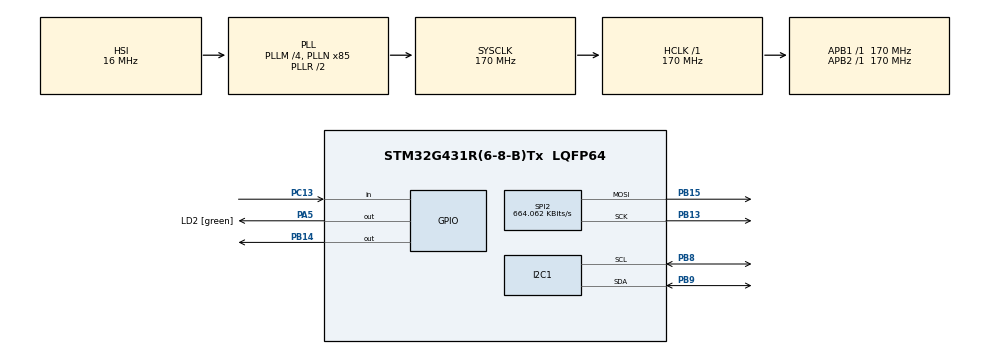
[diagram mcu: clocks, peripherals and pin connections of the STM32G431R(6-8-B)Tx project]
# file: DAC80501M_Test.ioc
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I2C1.Timing=0x40B285C2
Mcu.Family=STM32G4
Mcu.Name=STM32G431R(6-8-B)Tx
Mcu.Package=LQFP64
NVIC.PriorityGroup=NVIC_PRIORITYGROUP_4
PA13.GPIO_Label=T_SWDIO
PA13.Signal=SYS_JTMS-SWDIO
PA14.GPIO_Label=T_SWCLK
PA14.Signal=SYS_JTCK-SWCLK
PA3.GPIO_Label=LPUART1_RX [STLINKV3E_VCP_TX]
PA3.Signal=LPUART1_RX
PA5.GPIO_Label=LD2 [green]
PA5.Signal=GPIO_Output
PB13.Mode=TX_Only_Simplex_Unidirect_Master
PB13.Signal=SPI2_SCK
PB14.GPIO_PuPd=GPIO_PULLUP
PB14.GPIO_Speed=GPIO_SPEED_FREQ_VERY_HIGH
PB14.PinState=GPIO_PIN_SET
PB14.Signal=GPIO_Output
PB15.Mode=TX_Only_Simplex_Unidirect_Master
PB15.Signal=SPI2_MOSI
PB3.GPIO_Label=T_SWO
PB3.Signal=SYS_JTDO-SWO
PB8-BOOT0.Mode=I2C
PB8-BOOT0.Signal=I2C1_SCL
PB9.Mode=I2C
PB9.Signal=I2C1_SDA
PC13.GPIO_PuPd=GPIO_PULLDOWN
PC13.Signal=GPIO_Input
PC14-OSC32_IN.GPIO_Label=RCC_OSC32_OUT
PC14-OSC32_IN.Signal=RCC_OSC32_IN
PC15-OSC32_OUT.GPIO_Label=RCC_OSC32_OUT
PC15-OSC32_OUT.Signal=RCC_OSC32_OUT
PF0-OSC_IN.GPIO_Label=RCC_OSC_IN
PF0-OSC_IN.Signal=RCC_OSC_IN
PF1-OSC_OUT.GPIO_Label=RCC_OSC_OUT
PF1-OSC_OUT.Signal=RCC_OSC_OUT
ProjectManager.HeapSize=0x200
ProjectManager.StackSize=0x400
ProjectManager.TargetToolchain=STM32CubeIDE
RCC.ADC12Freq_Value=170000000
RCC.AHBFreq_Value=170000000
RCC.APB1Freq_Value=170000000
RCC.APB1TimFreq_Value=170000000
RCC.APB2Freq_Value=170000000
RCC.APB2TimFreq_Value=170000000
RCC.CortexFreq_Value=170000000
RCC.EXTERNAL_CLOCK_VALUE=12288000
RCC.HCLKFreq_Value=170000000
RCC.HSE_VALUE=24000000
RCC.HSI48_VALUE=48000000
RCC.HSI_VALUE=16000000
RCC.LSE_VALUE=32768
RCC.PLLM=RCC_PLLM_DIV4
RCC.PLLN=85
RCC.RTCClockSelection=RCC_RTCCLKSOURCE_LSE
RCC.SYSCLKFreq_VALUE=170000000
RCC.SYSCLKSource=RCC_SYSCLKSOURCE_PLLCLK
RCC.USBFreq_Value=170000000
RCC.VCOOutputFreq_Value=340000000
SPI2.BaudRatePrescaler=SPI_BAUDRATEPRESCALER_256
SPI2.CLKPolarity=SPI_POLARITY_HIGH
SPI2.CalculateBaudRate=664.062 KBits/s
SPI2.DataSize=SPI_DATASIZE_8BIT
SPI2.Direction=SPI_DIRECTION_2LINES
SPI2.Mode=SPI_MODE_MASTER
SPI2.VirtualType=VM_MASTER
TIM6.Prescaler=169
VP_SYS_VS_DBSignals.Mode=DisableDeadBatterySignals
VP_TIM6_VS_ClockSourceINT.Mode=Enable_Timer
board=NUCLEO-G431RB

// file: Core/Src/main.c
/* USER CODE BEGIN Header */
/**
  ******************************************************************************
  * @file           : main.c
  * @brief          : Main program body
  ******************************************************************************
  * @attention
  *
  * Copyright (c) 2026 STMicroelectronics.
  * All rights reserved.
  *
  * This software is licensed under terms that can be found in the LICENSE file
  * in the root directory of this software component.
  * If no LICENSE file comes with this software, it is provided AS-IS.
  *
  ******************************************************************************
  */
/* USER CODE END Header */
#include "main.h"

/* USER CODE BEGIN Includes */
/* I2C
 */
#include "DAC80501M_I2C.h"
//#include "DAC80501M_SPI.h"
/* USER CODE END Includes */

I2C_HandleTypeDef hi2c1;

SPI_HandleTypeDef hspi2;

TIM_HandleTypeDef htim6;

/* USER CODE BEGIN PV */
DAC80501M_Handle_t DACs;
uint8_t count = 0;
/* USER CODE END PV */

void SystemClock_Config(void);
static void MX_GPIO_Init(void);
static void MX_I2C1_Init(void);
static void MX_SPI2_Init(void);
static void MX_TIM6_Init(void);

int main(void)
{

  /* MCU Configuration--------------------------------------------------------*/

  /* Reset of all peripherals, Initializes the Flash interface and the Systick. */
  HAL_Init();

  /* Configure the system clock */
  SystemClock_Config();

  /* Initialize all configured peripherals */
  MX_GPIO_Init();
  MX_I2C1_Init();
  MX_SPI2_Init();
  MX_TIM6_Init();
  /* USER CODE BEGIN 2 */
  /* I2C
   */
//  DACs.hi2c = &hi2c1;
//  DACs.Init.dev_i2c_addr = (0x49U << 1U);
  HAL_TIM_Base_Start(&htim6);

  DACs.hspi = &hspi2;
  DACs.CS_Port = GPIOB;
  DACs.CS_Pin = GPIO_PIN_14;
  DACs.Init.dac_sync = DAC80501M_SYNC_DI;
  DACs.Init.int_ref = DAC80501M_INT_REF_EN;
//  DACs.Init.buff_gain = DAC80501M_BUFF_GAIN_2;
//  DACs.Init.ref_div = DAC80501M_REF_DIV_1;

//  DAC80501M_Init(&DACs);
//  DAC80501M_Set_Ref_Div(&DACs, DAC80501M_REF_DIV_2);
//  DAC80501M_Set_Buff_Gain(&DACs, DAC80501M_BUFF_GAIN_2);
  uint16_t data = 0x7FFF;
  uint16_t pData;
//  DAC80501M_ReadReg(&DACs, DAC80501M_REG_DAC_DATA,&pData);
  /* USER CODE END 2 */

  /* Infinite loop */
  while (1)
  {

    /* USER CODE BEGIN 3 */
	 if(HAL_GPIO_ReadPin(GPIOC, GPIO_PIN_13))
	 {
		 HAL_Delay(100);
		 if(count < 2)
		 {
//			 DAC80501M_I2C_Write_DAC(&DACs, data);
			 DAC80501M_SPI_Write_DAC(&DACs, data);
		 }
		 else if(count>2)
		 {
			 data = 0xFFFF;
//			 DAC80501M_I2C_Write_DAC(&DACs, data);
			 DAC80501M_SPI_Write_DAC(&DACs, data);
		 }
		 count++;
		 /* I2C
		  */
//		 HAL_Delay(100);
	 }
  }
  /* USER CODE END 3 */
}

void SystemClock_Config(void)
{
  RCC_OscInitTypeDef RCC_OscInitStruct = {0};
  RCC_ClkInitTypeDef RCC_ClkInitStruct = {0};

  /** Configure the main internal regulator output voltage
  */
  HAL_PWREx_ControlVoltageScaling(PWR_REGULATOR_VOLTAGE_SCALE1_BOOST);

  /** Initializes the RCC Oscillators according to the specified parameters
  * in the RCC_OscInitTypeDef structure.
  */
  RCC_OscInitStruct.OscillatorType = RCC_OSCILLATORTYPE_HSI;
  RCC_OscInitStruct.HSIState = RCC_HSI_ON;
  RCC_OscInitStruct.HSICalibrationValue = RCC_HSICALIBRATION_DEFAULT;
  RCC_OscInitStruct.PLL.PLLState = RCC_PLL_ON;
  RCC_OscInitStruct.PLL.PLLSource = RCC_PLLSOURCE_HSI;
  RCC_OscInitStruct.PLL.PLLM = RCC_PLLM_DIV4;
  RCC_OscInitStruct.PLL.PLLN = 85;
  RCC_OscInitStruct.PLL.PLLP = RCC_PLLP_DIV2;
  RCC_OscInitStruct.PLL.PLLQ = RCC_PLLQ_DIV2;
  RCC_OscInitStruct.PLL.PLLR = RCC_PLLR_DIV2;
  if (HAL_RCC_OscConfig(&RCC_OscInitStruct) != HAL_OK)
  {
    Error_Handler();
  }

  /** Initializes the CPU, AHB and APB buses clocks
  */
  RCC_ClkInitStruct.ClockType = RCC_CLOCKTYPE_HCLK|RCC_CLOCKTYPE_SYSCLK
                              |RCC_CLOCKTYPE_PCLK1|RCC_CLOCKTYPE_PCLK2;
  RCC_ClkInitStruct.SYSCLKSource = RCC_SYSCLKSOURCE_PLLCLK;
  RCC_ClkInitStruct.AHBCLKDivider = RCC_SYSCLK_DIV1;
  RCC_ClkInitStruct.APB1CLKDivider = RCC_HCLK_DIV1;
  RCC_ClkInitStruct.APB2CLKDivider = RCC_HCLK_DIV1;

  if (HAL_RCC_ClockConfig(&RCC_ClkInitStruct, FLASH_LATENCY_4) != HAL_OK)
  {
    Error_Handler();
  }
}

static void MX_I2C1_Init(void)
{

  hi2c1.Instance = I2C1;
  hi2c1.Init.Timing = 0x40B285C2;
  hi2c1.Init.OwnAddress1 = 0;
  hi2c1.Init.AddressingMode = I2C_ADDRESSINGMODE_7BIT;
  hi2c1.Init.DualAddressMode = I2C_DUALADDRESS_DISABLE;
  hi2c1.Init.OwnAddress2 = 0;
  hi2c1.Init.OwnAddress2Masks = I2C_OA2_NOMASK;
  hi2c1.Init.GeneralCallMode = I2C_GENERALCALL_DISABLE;
  hi2c1.Init.NoStretchMode = I2C_NOSTRETCH_DISABLE;
  if (HAL_I2C_Init(&hi2c1) != HAL_OK)
  {
    Error_Handler();
  }

  /** Configure Analogue filter
  */
  if (HAL_I2CEx_ConfigAnalogFilter(&hi2c1, I2C_ANALOGFILTER_ENABLE) != HAL_OK)
  {
    Error_Handler();
  }

  /** Configure Digital filter
  */
  if (HAL_I2CEx_ConfigDigitalFilter(&hi2c1, 0) != HAL_OK)
  {
    Error_Handler();
  }

}

static void MX_SPI2_Init(void)
{

  /* SPI2 parameter configuration*/
  hspi2.Instance = SPI2;
  hspi2.Init.Mode = SPI_MODE_MASTER;
  hspi2.Init.Direction = SPI_DIRECTION_2LINES;
  hspi2.Init.DataSize = SPI_DATASIZE_8BIT;
  hspi2.Init.CLKPolarity = SPI_POLARITY_HIGH;
  hspi2.Init.CLKPhase = SPI_PHASE_1EDGE;
  hspi2.Init.NSS = SPI_NSS_SOFT;
  hspi2.Init.BaudRatePrescaler = SPI_BAUDRATEPRESCALER_256;
  hspi2.Init.FirstBit = SPI_FIRSTBIT_MSB;
  hspi2.Init.TIMode = SPI_TIMODE_DISABLE;
  hspi2.Init.CRCCalculation = SPI_CRCCALCULATION_DISABLE;
  hspi2.Init.CRCPolynomial = 7;
  hspi2.Init.CRCLength = SPI_CRC_LENGTH_DATASIZE;
  hspi2.Init.NSSPMode = SPI_NSS_PULSE_ENABLE;
  if (HAL_SPI_Init(&hspi2) != HAL_OK)
  {
    Error_Handler();
  }

}

static void MX_TIM6_Init(void)
{

  TIM_MasterConfigTypeDef sMasterConfig = {0};

  htim6.Instance = TIM6;
  htim6.Init.Prescaler = 169;
  htim6.Init.CounterMode = TIM_COUNTERMODE_UP;
  htim6.Init.Period = 65535;
  htim6.Init.AutoReloadPreload = TIM_AUTORELOAD_PRELOAD_DISABLE;
  if (HAL_TIM_Base_Init(&htim6) != HAL_OK)
  {
    Error_Handler();
  }
  sMasterConfig.MasterOutputTrigger = TIM_TRGO_RESET;
  sMasterConfig.MasterSlaveMode = TIM_MASTERSLAVEMODE_DISABLE;
  if (HAL_TIMEx_MasterConfigSynchronization(&htim6, &sMasterConfig) != HAL_OK)
  {
    Error_Handler();
  }

}

static void MX_GPIO_Init(void)
{
  GPIO_InitTypeDef GPIO_InitStruct = {0};

  /* GPIO Ports Clock Enable */
  __HAL_RCC_GPIOC_CLK_ENABLE();
  __HAL_RCC_GPIOF_CLK_ENABLE();
  __HAL_RCC_GPIOA_CLK_ENABLE();
  __HAL_RCC_GPIOB_CLK_ENABLE();

  /*Configure GPIO pin Output Level */
  HAL_GPIO_WritePin(LD2_GPIO_Port, LD2_Pin, GPIO_PIN_RESET);

  /*Configure GPIO pin Output Level */
  HAL_GPIO_WritePin(GPIOB, GPIO_PIN_14, GPIO_PIN_SET);

  /*Configure GPIO pin : PC13 */
  GPIO_InitStruct.Pin = GPIO_PIN_13;
  GPIO_InitStruct.Mode = GPIO_MODE_INPUT;
  GPIO_InitStruct.Pull = GPIO_PULLDOWN;
  HAL_GPIO_Init(GPIOC, &GPIO_InitStruct);

  /*Configure GPIO pin : LPUART1_RX_Pin */
  GPIO_InitStruct.Pin = LPUART1_RX_Pin;
  GPIO_InitStruct.Mode = GPIO_MODE_AF_PP;
  GPIO_InitStruct.Pull = GPIO_NOPULL;
  GPIO_InitStruct.Speed = GPIO_SPEED_FREQ_LOW;
  GPIO_InitStruct.Alternate = GPIO_AF12_LPUART1;
  HAL_GPIO_Init(LPUART1_RX_GPIO_Port, &GPIO_InitStruct);

  /*Configure GPIO pin : LD2_Pin */
  GPIO_InitStruct.Pin = LD2_Pin;
  GPIO_InitStruct.Mode = GPIO_MODE_OUTPUT_PP;
  GPIO_InitStruct.Pull = GPIO_NOPULL;
  GPIO_InitStruct.Speed = GPIO_SPEED_FREQ_LOW;
  HAL_GPIO_Init(LD2_GPIO_Port, &GPIO_InitStruct);

  /*Configure GPIO pin : PB14 */
  GPIO_InitStruct.Pin = GPIO_PIN_14;
  GPIO_InitStruct.Mode = GPIO_MODE_OUTPUT_PP;
  GPIO_InitStruct.Pull = GPIO_PULLUP;
  GPIO_InitStruct.Speed = GPIO_SPEED_FREQ_VERY_HIGH;
  HAL_GPIO_Init(GPIOB, &GPIO_InitStruct);

}

void Error_Handler(void)
{
  __disable_irq();
  while (1)
  {
  }
}
